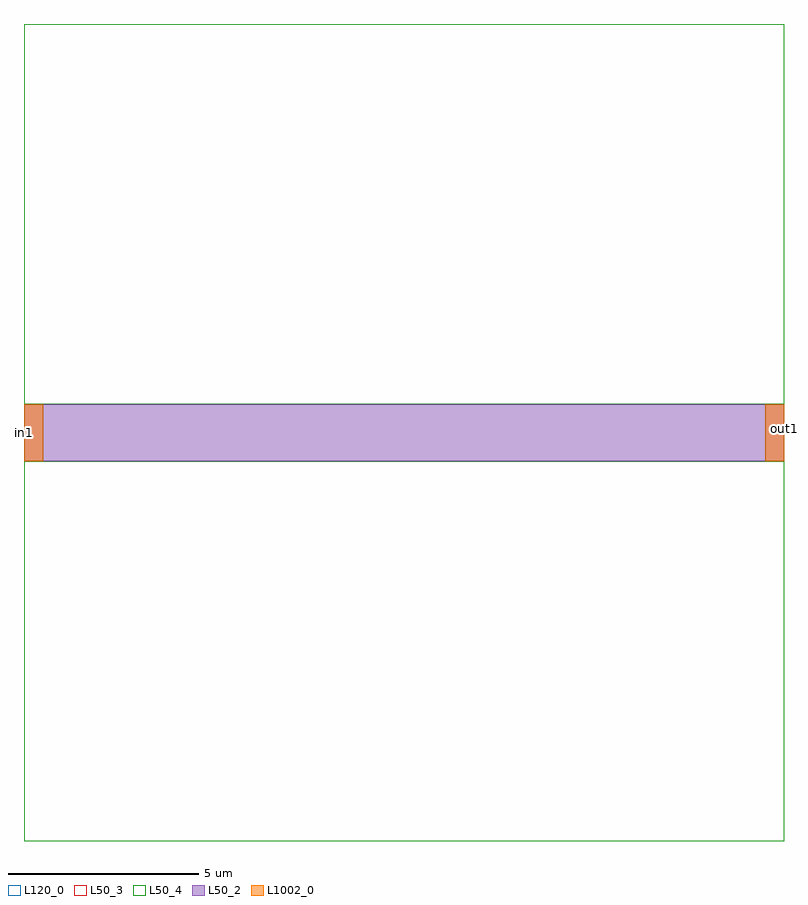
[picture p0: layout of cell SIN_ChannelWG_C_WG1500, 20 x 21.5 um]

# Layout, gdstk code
import gdstk
lib = gdstk.Library(unit=1e-6, precision=1e-09)
def R(c, l, rs):  # rectangles x0, y0, x1, y1
    for r in rs: c.add(gdstk.rectangle(r[:2], r[2:], *l))
L50_2 = (50, 2)
L50_3 = (50, 3)
L50_4 = (50, 4)
L120_0 = (120, 0)
L1002_0 = (1002, 0)

sin_channelwg_c_wg1500 = lib.new_cell('SIN_ChannelWG_C_WG1500')
R(sin_channelwg_c_wg1500, L50_2, [(0,10,20,11.5)])
R(sin_channelwg_c_wg1500, L50_3, [(0,0,20,21.5)])
R(sin_channelwg_c_wg1500, L50_4, [(0,0,20,10), (0,11.5,20,21.5)])
R(sin_channelwg_c_wg1500, L120_0, [(0,0,20,21.5)])
R(sin_channelwg_c_wg1500, L1002_0, [(0,10,0.5,11.5), (19.5,10,20,11.5)])
sin_channelwg_c_wg1500.add(gdstk.Label('out1', (20,10.848), layer=1000, texttype=0))
sin_channelwg_c_wg1500.add(gdstk.Label('in1', (0,10.749), layer=1000, texttype=0))

lib.write_gds('SIN_ChannelWG_C_WG1500.gds')
